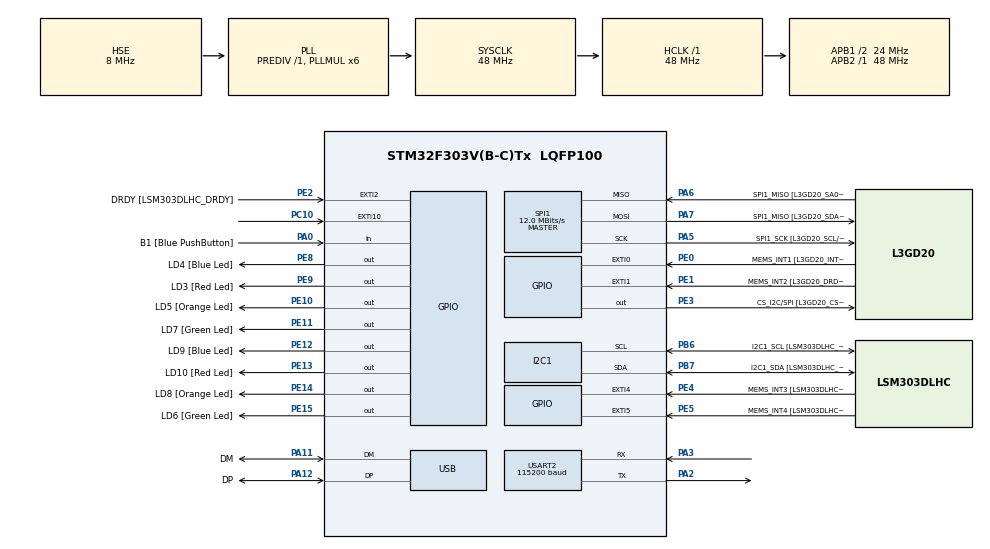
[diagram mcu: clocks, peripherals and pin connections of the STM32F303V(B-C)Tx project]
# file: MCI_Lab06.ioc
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I2C1.Timing=0x00201D2B
I2C1.Timing-I2C=0x2000090E
Mcu.Family=STM32F3
Mcu.Name=STM32F303V(B-C)Tx
Mcu.Package=LQFP100
NVIC.PriorityGroup=NVIC_PRIORITYGROUP_0
NVIC.TIM2_IRQn=true\:0\:0\:false\:false\:true\:true\:true\:true
PA0.GPIO_Label=B1 [Blue PushButton]
PA0.Signal=GPIO_Input
PA11.GPIO_Label=DM
PA11.Mode=Device
PA11.Signal=USB_DM
PA12.GPIO_Label=DP
PA12.Mode=Device
PA12.Signal=USB_DP
PA13.GPIO_Label=SWDIO
PA13.Mode=Serial_Wire
PA13.Signal=SYS_JTMS-SWDIO
PA14.GPIO_Label=SWCLK
PA14.Mode=Serial_Wire
PA14.Signal=SYS_JTCK-SWCLK
PA2.Mode=Asynchronous
PA2.Signal=USART2_TX
PA3.Mode=Asynchronous
PA3.Signal=USART2_RX
PA5.GPIO_Label=SPI1_SCK [L3GD20_SCL/SPC]
PA5.Mode=Full_Duplex_Master
PA5.Signal=SPI1_SCK
PA6.GPIO_Label=SPI1_MISO [L3GD20_SA0/SDO]
PA6.Mode=Full_Duplex_Master
PA6.Signal=SPI1_MISO
PA7.GPIO_Label=SPI1_MISO [L3GD20_SDA/SDI/SDO]
PA7.Mode=Full_Duplex_Master
PA7.Signal=SPI1_MOSI
PB3.GPIO_Label=SWO
PB3.Signal=SYS_JTDO-TRACESWO
PB6.GPIO_Label=I2C1_SCL [LSM303DLHC_SCL]
PB6.GPIO_Pu=GPIO_PULLUP
PB6.Mode=I2C
PB6.Signal=I2C1_SCL
PB7.GPIO_Label=I2C1_SDA [LSM303DLHC_SDA]
PB7.GPIO_Pu=GPIO_PULLUP
PB7.Mode=I2C
PB7.Signal=I2C1_SDA
PC10.GPIO_ModeDefaultEXTI=GPIO_MODE_IT_RISING
PC10.Signal=GPXTI10
PC14-OSC32_IN.GPIO_Label=OSC32_IN
PC14-OSC32_IN.Signal=RCC_OSC32_IN
PC15-OSC32_OUT.GPIO_Label=OSC32_OUT
PC15-OSC32_OUT.Signal=RCC_OSC32_OUT
PE0.GPIO_Label=MEMS_INT1 [L3GD20_INT1]
PE0.GPIO_ModeDefaultEXTI=GPIO_MODE_EVT_RISING
PE0.Signal=GPXTI0
PE1.GPIO_Label=MEMS_INT2 [L3GD20_DRDY/INT2]
PE1.GPIO_ModeDefaultEXTI=GPIO_MODE_EVT_RISING
PE1.Signal=GPXTI1
PE10.GPIO_Label=LD5 [Orange Led]
PE10.Signal=GPIO_Output
PE11.GPIO_Label=LD7 [Green Led]
PE11.Signal=GPIO_Output
PE12.GPIO_Label=LD9 [Blue Led]
PE12.Signal=GPIO_Output
PE13.GPIO_Label=LD10 [Red Led]
PE13.Signal=GPIO_Output
PE14.GPIO_Label=LD8 [Orange Led]
PE14.Signal=GPIO_Output
PE15.GPIO_Label=LD6 [Green Led]
PE15.Signal=GPIO_Output
PE2.GPIO_Label=DRDY [LSM303DLHC_DRDY]
PE2.GPIO_ModeDefaultEXTI=GPIO_MODE_EVT_RISING
PE2.Signal=GPXTI2
PE3.GPIO_Label=CS_I2C/SPI [L3GD20_CS_I2C/SPI]
PE3.Signal=GPIO_Output
PE4.GPIO_Label=MEMS_INT3 [LSM303DLHC_INT1]
PE4.GPIO_ModeDefaultEXTI=GPIO_MODE_EVT_RISING
PE4.Signal=GPXTI4
PE5.GPIO_Label=MEMS_INT4 [LSM303DLHC_INT2]
PE5.GPIO_ModeDefaultEXTI=GPIO_MODE_EVT_RISING
PE5.Signal=GPXTI5
PE8.GPIO_Label=LD4 [Blue Led]
PE8.Signal=GPIO_Output
PE9.GPIO_Label=LD3 [Red Led]
PE9.Signal=GPIO_Output
PF0-OSC_IN.GPIO_Label=OSC_IN
PF0-OSC_IN.Mode=HSE-External-Clock-Source
PF0-OSC_IN.Signal=RCC_OSC_IN
PF1-OSC_OUT.GPIO_Label=OSC_OUT
PF1-OSC_OUT.Signal=RCC_OSC_OUT
ProjectManager.HeapSize=0x200
ProjectManager.StackSize=0x400
ProjectManager.TargetToolchain=CMake
RCC.AHBFreq_Value=48000000
RCC.APB1CLKDivider=RCC_HCLK_DIV2
RCC.APB1Freq_Value=24000000
RCC.APB1TimFreq_Value=48000000
RCC.APB2Freq_Value=48000000
RCC.APB2TimFreq_Value=48000000
RCC.CortexFreq_Value=48000000
RCC.HCLKFreq_Value=48000000
RCC.HSE_VALUE=8000000
RCC.HSI_VALUE=8000000
RCC.LSE_VALUE=32768
RCC.PLLMUL=RCC_PLL_MUL6
RCC.PLLSourceVirtual=RCC_PLLSOURCE_HSE
RCC.SYSCLKFreq_VALUE=48000000
RCC.SYSCLKSourceVirtual=RCC_SYSCLKSOURCE_PLLCLK
RCC.USBFreq_Value=48000000
SPI1.BaudRatePrescaler=SPI_BAUDRATEPRESCALER_4
SPI1.BaudRatePrescaler-Full_Duplex_Master=SPI_BAUDRATEPRESCALER_2
SPI1.CalculateBaudRate=12.0 MBits/s
SPI1.CalculateBaudRate-Full_Duplex_Master=24.0 MBits/s
SPI1.Direction=SPI_DIRECTION_2LINES
SPI1.Mode=SPI_MODE_MASTER
SPI1.Mode-Full_Duplex_Master=SPI_MODE_MASTER
SPI1.VirtualType=VM_MASTER
TIM2.Prescaler=9
USART2.BaudRate=115200
USART2.VirtualMode-Asynchronous=VM_ASYNC
VP_TIM2_VS_ClockSourceINT.Mode=Internal
board=STM32F3DISCOVERY

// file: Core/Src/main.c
/* USER CODE BEGIN Header */
/**
  ******************************************************************************
  * @file           : main.c
  * @brief          : Main program body
  ******************************************************************************
  * @attention
  *
  * Copyright (c) 2026 STMicroelectronics.
  * All rights reserved.
  *
  * This software is licensed under terms that can be found in the LICENSE file
  * in the root directory of this software component.
  * If no LICENSE file comes with this software, it is provided AS-IS.
  *
  ******************************************************************************
  */
/* USER CODE END Header */
#include "main.h"

#include <string.h>
#include <stdlib.h>
#include <sys/_intsup.h>
#include <stdarg.h>
#include <stdio.h>

I2C_HandleTypeDef hi2c1;

SPI_HandleTypeDef hspi1;

TIM_HandleTypeDef htim2;

UART_HandleTypeDef huart2;

PCD_HandleTypeDef hpcd_USB_FS;

void SystemClock_Config(void);
static void MX_GPIO_Init(void);
static void MX_I2C1_Init(void);
static void MX_SPI1_Init(void);
static void MX_TIM2_Init(void);
static void MX_USB_PCD_Init(void);
static void MX_USART2_UART_Init(void);

/* USER CODE BEGIN 0 */
void cout(const char* fmt, ...) {
    char buffer[128];
    va_list args;
    va_start(args, fmt);
    int l = vsnprintf(buffer, sizeof(buffer), fmt, args);
    va_end(args);
    if (l > 0) {
        // Corrected: use l (length) instead of hardcoded size
        HAL_UART_Transmit(&huart2, (uint8_t*)buffer, l, HAL_MAX_DELAY);
    }
}

volatile uint32_t capture_buffer[16];
volatile uint8_t capture_idx = 0;
volatile uint8_t print_flag = 0;

void HAL_GPIO_EXTI_Callback(uint16_t GPIO_Pin) {
    // MATCH THIS TO YOUR HARDWARE PIN (e.g., GPIO_PIN_10 if using PC10)
    if (GPIO_Pin == GPIO_PIN_10) {
        if (capture_idx == 0) {
            __HAL_TIM_SET_COUNTER(&htim2, 0);
            HAL_TIM_Base_Start(&htim2);
            capture_idx = 1;
        } else if (capture_idx <= 16) {
            // Capture current value and reset counter immediately for next period
            capture_buffer[capture_idx - 1] = __HAL_TIM_GET_COUNTER(&htim2);
            __HAL_TIM_SET_COUNTER(&htim2, 0);
            capture_idx++;

            if (capture_idx > 16) {
                print_flag = 1;
                // Stop timer to prevent unnecessary interrupts while processing
                HAL_TIM_Base_Stop(&htim2);
            }
        }
    }
}
/* USER CODE END 0 */

int main(void)
{

  /* MCU Configuration--------------------------------------------------------*/

  /* Reset of all peripherals, Initializes the Flash interface and the Systick. */
  HAL_Init();

  /* Configure the system clock */
  SystemClock_Config();

  /* Initialize all configured peripherals */
  MX_GPIO_Init();
  MX_I2C1_Init();
  MX_SPI1_Init();
  MX_TIM2_Init();
  MX_USB_PCD_Init();
  MX_USART2_UART_Init();

  /* Infinite loop */
  /* USER CODE BEGIN WHILE */

  while (1)
  {
    if (print_flag) {
        uint64_t sum = 0;
        for (int i = 0; i < 16; i++) {
            sum += capture_buffer[i];
        }

        // Use double for precision in frequency math
        double average_period = (double)sum / 16.0;

        if (average_period > 0) {
            double frequency = 4800000.0 / (2.0 * average_period);
            cout("Measured Frequency: %.2f Hz\r\n", frequency);
        } else {
            cout("Error: Period is 0\r\n");
        }

        // Reset for next batch
        capture_idx = 0;
        print_flag = 0;
    }
    HAL_Delay(100);
    /* USER CODE END WHILE */

  }
}

void SystemClock_Config(void)
{
  RCC_OscInitTypeDef RCC_OscInitStruct = {0};
  RCC_ClkInitTypeDef RCC_ClkInitStruct = {0};
  RCC_PeriphCLKInitTypeDef PeriphClkInit = {0};

  /** Initializes the RCC Oscillators according to the specified parameters
  * in the RCC_OscInitTypeDef structure.
  */
  RCC_OscInitStruct.OscillatorType = RCC_OSCILLATORTYPE_HSI|RCC_OSCILLATORTYPE_HSE;
  RCC_OscInitStruct.HSEState = RCC_HSE_BYPASS;
  RCC_OscInitStruct.HSEPredivValue = RCC_HSE_PREDIV_DIV1;
  RCC_OscInitStruct.HSIState = RCC_HSI_ON;
  RCC_OscInitStruct.HSICalibrationValue = RCC_HSICALIBRATION_DEFAULT;
  RCC_OscInitStruct.PLL.PLLState = RCC_PLL_ON;
  RCC_OscInitStruct.PLL.PLLSource = RCC_PLLSOURCE_HSE;
  RCC_OscInitStruct.PLL.PLLMUL = RCC_PLL_MUL6;
  if (HAL_RCC_OscConfig(&RCC_OscInitStruct) != HAL_OK)
  {
    Error_Handler();
  }

  /** Initializes the CPU, AHB and APB buses clocks
  */
  RCC_ClkInitStruct.ClockType = RCC_CLOCKTYPE_HCLK|RCC_CLOCKTYPE_SYSCLK
                              |RCC_CLOCKTYPE_PCLK1|RCC_CLOCKTYPE_PCLK2;
  RCC_ClkInitStruct.SYSCLKSource = RCC_SYSCLKSOURCE_PLLCLK;
  RCC_ClkInitStruct.AHBCLKDivider = RCC_SYSCLK_DIV1;
  RCC_ClkInitStruct.APB1CLKDivider = RCC_HCLK_DIV2;
  RCC_ClkInitStruct.APB2CLKDivider = RCC_HCLK_DIV1;

  if (HAL_RCC_ClockConfig(&RCC_ClkInitStruct, FLASH_LATENCY_1) != HAL_OK)
  {
    Error_Handler();
  }
  PeriphClkInit.PeriphClockSelection = RCC_PERIPHCLK_USB|RCC_PERIPHCLK_USART2
                              |RCC_PERIPHCLK_I2C1;
  PeriphClkInit.Usart2ClockSelection = RCC_USART2CLKSOURCE_PCLK1;
  PeriphClkInit.I2c1ClockSelection = RCC_I2C1CLKSOURCE_HSI;
  PeriphClkInit.USBClockSelection = RCC_USBCLKSOURCE_PLL;
  if (HAL_RCCEx_PeriphCLKConfig(&PeriphClkInit) != HAL_OK)
  {
    Error_Handler();
  }
}

static void MX_I2C1_Init(void)
{

  hi2c1.Instance = I2C1;
  hi2c1.Init.Timing = 0x00201D2B;
  hi2c1.Init.OwnAddress1 = 0;
  hi2c1.Init.AddressingMode = I2C_ADDRESSINGMODE_7BIT;
  hi2c1.Init.DualAddressMode = I2C_DUALADDRESS_DISABLE;
  hi2c1.Init.OwnAddress2 = 0;
  hi2c1.Init.OwnAddress2Masks = I2C_OA2_NOMASK;
  hi2c1.Init.GeneralCallMode = I2C_GENERALCALL_DISABLE;
  hi2c1.Init.NoStretchMode = I2C_NOSTRETCH_DISABLE;
  if (HAL_I2C_Init(&hi2c1) != HAL_OK)
  {
    Error_Handler();
  }

  /** Configure Analogue filter
  */
  if (HAL_I2CEx_ConfigAnalogFilter(&hi2c1, I2C_ANALOGFILTER_ENABLE) != HAL_OK)
  {
    Error_Handler();
  }

  /** Configure Digital filter
  */
  if (HAL_I2CEx_ConfigDigitalFilter(&hi2c1, 0) != HAL_OK)
  {
    Error_Handler();
  }

}

static void MX_SPI1_Init(void)
{

  /* SPI1 parameter configuration*/
  hspi1.Instance = SPI1;
  hspi1.Init.Mode = SPI_MODE_MASTER;
  hspi1.Init.Direction = SPI_DIRECTION_2LINES;
  hspi1.Init.DataSize = SPI_DATASIZE_4BIT;
  hspi1.Init.CLKPolarity = SPI_POLARITY_LOW;
  hspi1.Init.CLKPhase = SPI_PHASE_1EDGE;
  hspi1.Init.NSS = SPI_NSS_SOFT;
  hspi1.Init.BaudRatePrescaler = SPI_BAUDRATEPRESCALER_4;
  hspi1.Init.FirstBit = SPI_FIRSTBIT_MSB;
  hspi1.Init.TIMode = SPI_TIMODE_DISABLE;
  hspi1.Init.CRCCalculation = SPI_CRCCALCULATION_DISABLE;
  hspi1.Init.CRCPolynomial = 7;
  hspi1.Init.CRCLength = SPI_CRC_LENGTH_DATASIZE;
  hspi1.Init.NSSPMode = SPI_NSS_PULSE_ENABLE;
  if (HAL_SPI_Init(&hspi1) != HAL_OK)
  {
    Error_Handler();
  }

}

static void MX_TIM2_Init(void)
{

  TIM_ClockConfigTypeDef sClockSourceConfig = {0};
  TIM_MasterConfigTypeDef sMasterConfig = {0};

  htim2.Instance = TIM2;
  htim2.Init.Prescaler = 9;
  htim2.Init.CounterMode = TIM_COUNTERMODE_UP;
  htim2.Init.Period = 4294967295;
  htim2.Init.ClockDivision = TIM_CLOCKDIVISION_DIV1;
  htim2.Init.AutoReloadPreload = TIM_AUTORELOAD_PRELOAD_DISABLE;
  if (HAL_TIM_Base_Init(&htim2) != HAL_OK)
  {
    Error_Handler();
  }
  sClockSourceConfig.ClockSource = TIM_CLOCKSOURCE_INTERNAL;
  if (HAL_TIM_ConfigClockSource(&htim2, &sClockSourceConfig) != HAL_OK)
  {
    Error_Handler();
  }
  sMasterConfig.MasterOutputTrigger = TIM_TRGO_RESET;
  sMasterConfig.MasterSlaveMode = TIM_MASTERSLAVEMODE_DISABLE;
  if (HAL_TIMEx_MasterConfigSynchronization(&htim2, &sMasterConfig) != HAL_OK)
  {
    Error_Handler();
  }

}

static void MX_USART2_UART_Init(void)
{

  huart2.Instance = USART2;
  huart2.Init.BaudRate = 115200;
  huart2.Init.WordLength = UART_WORDLENGTH_8B;
  huart2.Init.StopBits = UART_STOPBITS_1;
  huart2.Init.Parity = UART_PARITY_NONE;
  huart2.Init.Mode = UART_MODE_TX_RX;
  huart2.Init.HwFlowCtl = UART_HWCONTROL_NONE;
  huart2.Init.OverSampling = UART_OVERSAMPLING_16;
  huart2.Init.OneBitSampling = UART_ONE_BIT_SAMPLE_DISABLE;
  huart2.AdvancedInit.AdvFeatureInit = UART_ADVFEATURE_NO_INIT;
  if (HAL_UART_Init(&huart2) != HAL_OK)
  {
    Error_Handler();
  }

}

static void MX_USB_PCD_Init(void)
{

  hpcd_USB_FS.Instance = USB;
  hpcd_USB_FS.Init.dev_endpoints = 8;
  hpcd_USB_FS.Init.speed = PCD_SPEED_FULL;
  hpcd_USB_FS.Init.phy_itface = PCD_PHY_EMBEDDED;
  hpcd_USB_FS.Init.low_power_enable = DISABLE;
  hpcd_USB_FS.Init.battery_charging_enable = DISABLE;
  if (HAL_PCD_Init(&hpcd_USB_FS) != HAL_OK)
  {
    Error_Handler();
  }

}

static void MX_GPIO_Init(void)
{
  GPIO_InitTypeDef GPIO_InitStruct = {0};

  /* GPIO Ports Clock Enable */
  __HAL_RCC_GPIOE_CLK_ENABLE();
  __HAL_RCC_GPIOC_CLK_ENABLE();
  __HAL_RCC_GPIOF_CLK_ENABLE();
  __HAL_RCC_GPIOA_CLK_ENABLE();
  __HAL_RCC_GPIOB_CLK_ENABLE();

  /*Configure GPIO pin Output Level */
  HAL_GPIO_WritePin(GPIOE, CS_I2C_SPI_Pin|LD4_Pin|LD3_Pin|LD5_Pin
                          |LD7_Pin|LD9_Pin|LD10_Pin|LD8_Pin
                          |LD6_Pin, GPIO_PIN_RESET);

  /*Configure GPIO pins : DRDY_Pin MEMS_INT3_Pin MEMS_INT4_Pin MEMS_INT1_Pin
                           MEMS_INT2_Pin */
  GPIO_InitStruct.Pin = DRDY_Pin|MEMS_INT3_Pin|MEMS_INT4_Pin|MEMS_INT1_Pin
                          |MEMS_INT2_Pin;
  GPIO_InitStruct.Mode = GPIO_MODE_EVT_RISING;
  GPIO_InitStruct.Pull = GPIO_NOPULL;
  HAL_GPIO_Init(GPIOE, &GPIO_InitStruct);

  /*Configure GPIO pins : CS_I2C_SPI_Pin LD4_Pin LD3_Pin LD5_Pin
                           LD7_Pin LD9_Pin LD10_Pin LD8_Pin
                           LD6_Pin */
  GPIO_InitStruct.Pin = CS_I2C_SPI_Pin|LD4_Pin|LD3_Pin|LD5_Pin
                          |LD7_Pin|LD9_Pin|LD10_Pin|LD8_Pin
                          |LD6_Pin;
  GPIO_InitStruct.Mode = GPIO_MODE_OUTPUT_PP;
  GPIO_InitStruct.Pull = GPIO_NOPULL;
  GPIO_InitStruct.Speed = GPIO_SPEED_FREQ_LOW;
  HAL_GPIO_Init(GPIOE, &GPIO_InitStruct);

  /*Configure GPIO pin : B1_Pin */
  GPIO_InitStruct.Pin = B1_Pin;
  GPIO_InitStruct.Mode = GPIO_MODE_INPUT;
  GPIO_InitStruct.Pull = GPIO_NOPULL;
  HAL_GPIO_Init(B1_GPIO_Port, &GPIO_InitStruct);

  /*Configure GPIO pin : PC10 */
  GPIO_InitStruct.Pin = GPIO_PIN_10;
  GPIO_InitStruct.Mode = GPIO_MODE_IT_RISING;
  GPIO_InitStruct.Pull = GPIO_NOPULL;
  HAL_GPIO_Init(GPIOC, &GPIO_InitStruct);

  /* USER CODE BEGIN MX_GPIO_Init_2 */
  /* EXTI interrupt init*/
  // Important: You MUST enable the IRQ in the NVIC
  HAL_NVIC_SetPriority(EXTI15_10_IRQn, 0, 0); // For Pin 10
  HAL_NVIC_EnableIRQ(EXTI15_10_IRQn);
  /* USER CODE END MX_GPIO_Init_2 */
}

void Error_Handler(void)
{
  __disable_irq();
  while (1)
  {
  }
}
